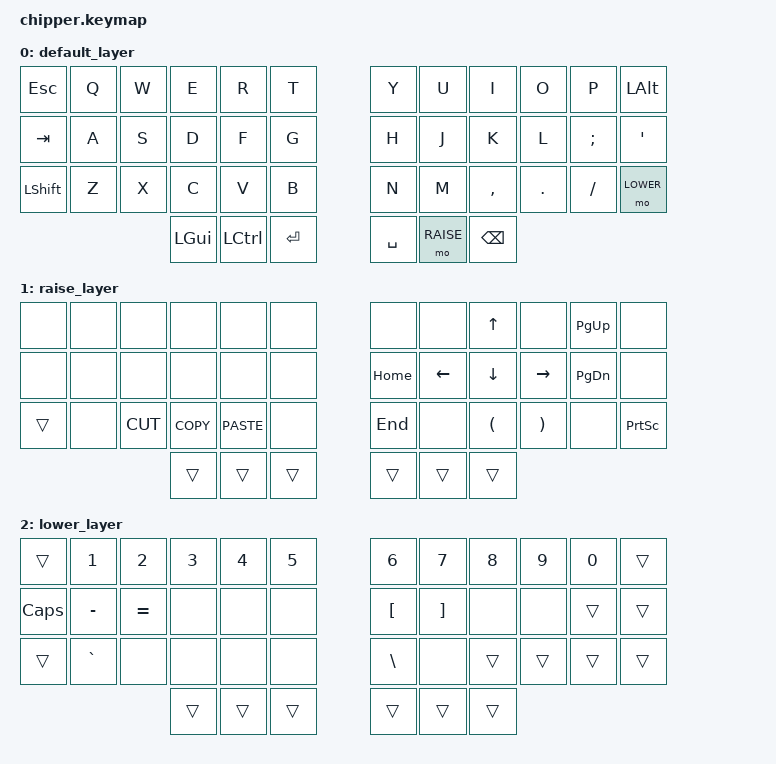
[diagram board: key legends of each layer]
#include <behaviors.dtsi>
#include <dt-bindings/zmk/keys.h>

#define DEFAULT 0
#define RAISE   1
#define LOWER   2

/ {
    keymap {
        compatible = "zmk,keymap";

        default_layer {
            bindings = <
&kp ESC   &kp Q     &kp W     &kp E     &kp R     &kp T           &kp Y     &kp U     &kp I     &kp O     &kp P     &kp LALT
&kp TAB   &kp A     &kp S     &kp D     &kp F     &kp G           &kp H     &kp J     &kp K     &kp L     &kp SEMI  &kp SQT
&kp LSHFT &kp Z     &kp X     &kp C     &kp V     &kp B           &kp N     &kp M     &kp COMMA &kp DOT   &kp FSLH  &mo LOWER
                              &kp LGUI  &kp LCTRL &kp RET         &kp SPACE &mo RAISE &kp BSPC
            >;
        };

        raise_layer {
            bindings = <
&none     &none     &none     &none      &none       &none           &none    &none    &kp UP    &none     &kp PG_UP &none
&none     &none     &none     &none      &none       &none           &kp HOME &kp LEFT &kp DOWN  &kp RIGHT &kp PG_DN &none
&trans    &none     &kp K_CUT &kp K_COPY &kp K_PASTE &none           &kp END  &none    &kp LPAR  &kp RPAR  &none     &kp PSCRN
                              &trans     &trans      &trans          &trans   &trans   &trans
            >;
        };

        lower_layer {
            bindings = <
&trans    &kp N1    &kp N2    &kp N3    &kp N4    &kp N5          &kp N6    &kp N7    &kp N8    &kp N9    &kp N0    &trans
&kp CAPS  &kp MINUS &kp EQUAL &none     &none     &none           &kp LBKT  &kp RBKT  &none     &none     &trans    &trans
&trans    &kp GRAVE &none     &none     &none     &none           &kp BSLH  &none     &trans    &trans    &trans    &trans
                              &trans    &trans    &trans          &trans    &trans    &trans
            >;
        };
    };
};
